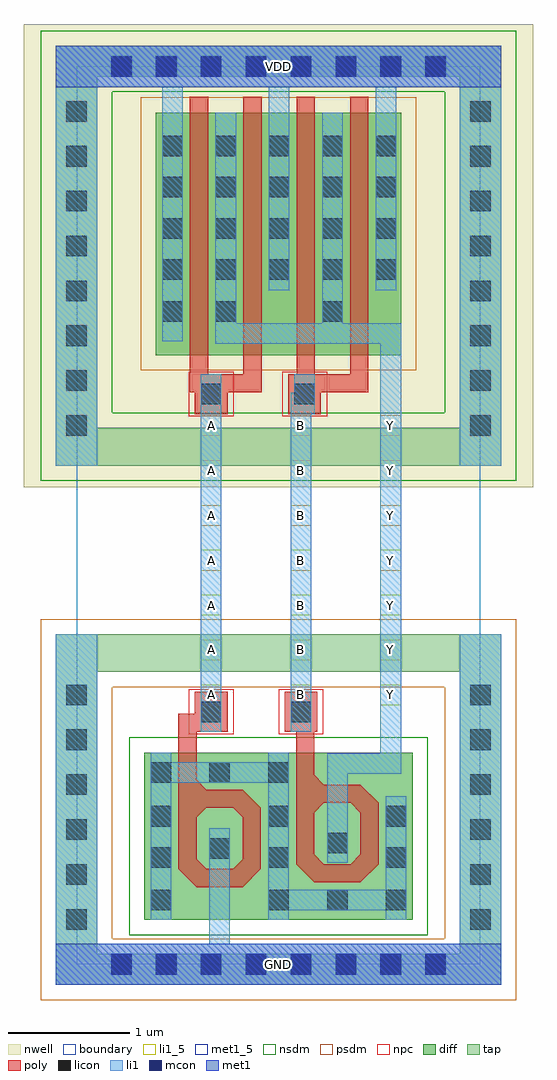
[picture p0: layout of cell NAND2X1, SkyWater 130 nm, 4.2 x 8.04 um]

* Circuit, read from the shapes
.subckt NAND2X1 A B GND VDD Y
XM1 n1 A GND GND sky130_fd_pr__nfet_01v8 w=2.6 l=0.1475
XM2 n1 B Y GND sky130_fd_pr__nfet_01v8 w=2.56 l=0.1476
XM3 Y A VDD VDD sky130_fd_pr__pfet_01v8 w=2 l=0.15 m=2
XM4 Y B VDD VDD sky130_fd_pr__pfet_01v8 w=2 l=0.15 m=2
.ends

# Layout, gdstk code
from math import pi, radians
import gdstk
lib = gdstk.Library(unit=1e-6, precision=1e-09)
def R(c, l, rs):  # rectangles x0, y0, x1, y1
    for r in rs: c.add(gdstk.rectangle(r[:2], r[2:], *l))
def A(c, l, x, y, w, h, nx, ny, dx, dy):  # array of equal rectangles
    R(c, l, [(x+i*dx, y+j*dy, x+i*dx+w, y+j*dy+h) for i in range(nx) for j in range(ny)])
def P(c, l, *ps):  # polygons
    for p in ps: c.add(gdstk.Polygon(p, *l))
nwell = (64, 20)
diff = (65, 20)
tap = (65, 44)
poly = (66, 20)
licon = (66, 44)
li1_5 = (67, 5)
li1 = (67, 20)
mcon = (67, 44)
met1_5 = (68, 5)
met1 = (68, 20)
nsdm = (93, 44)
psdm = (94, 20)
npc = (95, 20)
boundary = (235, 4)

diff_ring_side = lib.new_cell('diff_ring_side')
R(diff_ring_side, nwell, [(-0.435,3.93,0.435,7.75)])
R(diff_ring_side, tap, [(-0.17,-0.17,0.17,2.72), (-0.17,4.11,0.17,7.57)])
A(diff_ring_side, licon, -0.085, 0.285, 0.17, 0.17, 1, 6, 0, 0.37)
A(diff_ring_side, licon, -0.085, 4.355, 0.17, 0.17, 1, 8, 0, 0.37)
R(diff_ring_side, li1, [(-0.17,-0.17,0.17,2.72), (-0.17,4.11,0.17,7.57)])
R(diff_ring_side, met1, [(-0.17,-0.17,0.17,0.17), (-0.17,7.23,0.17,7.57)])
R(diff_ring_side, nsdm, [(-0.295,3.985,0.295,7.695)])
R(diff_ring_side, psdm, [(-0.295,-0.295,0.295,2.845)])

nmos_bottom = lib.new_cell('nmos_bottom')
R(nmos_bottom, diff, [(0,0,1.24,1.38)])
R(nmos_bottom, poly, [(0.43,0.27,0.81,0.42), (0.28,0.42,0.43,0.925), (0.81,0.42,0.96,0.925), (0.43,0.925,0.96,1.075), (0.81,1.075,0.96,1.51)])
P(nmos_bottom, poly, [(0.73,1.075),(0.81,1.075),(0.81,1.155)],
  [(0.28,0.925),(0.43,0.925),(0.43,1.075)],
  [(0.43,0.845),(0.43,0.925),(0.51,0.925)],
  [(0.73,0.925),(0.81,0.925),(0.81,0.845)],
  [(0.43,0.5),(0.43,0.42),(0.51,0.42)],
  [(0.73,0.42),(0.81,0.42),(0.81,0.5)],
  [(0.28,0.42),(0.43,0.42),(0.43,0.27)],
  [(0.81,0.27),(0.81,0.42),(0.96,0.42)])
A(nmos_bottom, licon, 0.05, 1.13, 0.17, 0.17, 3, 1, 0.485, 0)
R(nmos_bottom, licon, [(0.05,0.08,0.22,0.25), (1.02,0.08,1.19,0.25), (0.05,0.43,0.22,0.6), (1.02,0.43,1.19,0.6), (0.535,0.505,0.705,0.675), (0.05,0.77,0.22,0.94), (1.02,0.77,1.19,0.94)])
R(nmos_bottom, li1, [(0.05,0,0.22,1.13), (1.02,0,1.19,1.13), (0.535,0.425,0.705,0.755), (0.05,1.13,1.19,1.3), (0.05,1.3,0.22,1.38), (1.02,1.3,1.19,1.38)])
R(nmos_bottom, nsdm, [(-0.125,-0.125,1.365,1.505)])

pmos2 = lib.new_cell('pmos2')
R(pmos2, nwell, [(0.26,-2.18,1.76,0.18)])
R(pmos2, diff, [(0.44,-2,1.58,0)])
R(pmos2, poly, [(0.72,-2.305,1.31,-2.155), (0.72,-2.155,0.87,0.13), (1.16,-2.155,1.31,0.13)])
A(pmos2, licon, 0.49, -1.38, 0.17, 0.17, 3, 4, 0.44, 0.34)
R(pmos2, li1, [(0.49,-1.465,0.66,0.21), (0.93,-1.465,1.1,0), (1.37,-1.465,1.54,0.21)])
R(pmos2, psdm, [(0.315,-2.125,1.705,0.125)])

poly_li1_contact = lib.new_cell('poly_li1_contact')
R(poly_li1_contact, poly, [(-0.16,-0.14,0.17,0.13)])
R(poly_li1_contact, licon, [(-0.08,-0.09,0.09,0.08)])
R(poly_li1_contact, li1, [(-0.16,-0.09,0.17,0.08)])
R(poly_li1_contact, npc, [(-0.18,-0.19,0.19,0.18)])

nmos_top_trim1 = lib.new_cell('nmos_top_trim1')
R(nmos_top_trim1, diff, [(0,0,1.24,1.38)])
R(nmos_top_trim1, poly, [(0.43,0.31,0.81,0.46), (0.28,0.46,0.43,0.965), (0.81,0.46,0.96,0.965), (0.43,0.965,0.96,1.115), (0.81,1.115,0.96,1.545)])
P(nmos_top_trim1, poly, [(0.73,1.115),(0.81,1.115),(0.81,1.195)],
  [(0.28,0.965),(0.43,0.965),(0.43,1.115)],
  [(0.43,0.885),(0.43,0.965),(0.51,0.965)],
  [(0.73,0.965),(0.81,0.965),(0.81,0.885)],
  [(0.43,0.54),(0.43,0.46),(0.51,0.46)],
  [(0.73,0.46),(0.81,0.46),(0.81,0.54)],
  [(0.28,0.46),(0.43,0.46),(0.43,0.31)],
  [(0.81,0.31),(0.81,0.46),(0.96,0.46)])
A(nmos_top_trim1, licon, 0.05, 0.08, 0.17, 0.17, 3, 1, 0.485, 0)
R(nmos_top_trim1, licon, [(0.05,0.43,0.22,0.6), (1.02,0.43,1.19,0.6), (0.535,0.55,0.705,0.72), (0.05,0.77,0.22,0.94), (1.02,0.77,1.19,0.94), (1.02,1.13,1.19,1.3)])
R(nmos_top_trim1, li1, [(0.05,0,0.22,0.08), (1.02,0,1.19,0.08), (0.05,0.08,1.19,0.25), (0.05,0.25,0.22,1.02), (1.02,0.25,1.19,1.38), (0.535,0.47,0.705,0.805)])
R(nmos_top_trim1, nsdm, [(-0.125,-0.125,1.365,1.505)])

nand2x1_pcell = lib.new_cell('nand2x1_pcell')
R(nand2x1_pcell, nwell, [(0.435,3.93,2.895,7.75)])
R(nand2x1_pcell, diff, [(0.705,5.295,0.875,5.465), (1.145,5.295,1.315,5.465), (2.025,5.295,2.195,5.465)])
R(nand2x1_pcell, tap, [(0.17,-0.17,3.16,-0.15), (0.155,-0.15,3.175,0.085), (0.155,2.4,0.17,2.41), (3.16,2.4,3.175,2.41), (0.155,2.41,3.175,2.71), (0.17,2.71,3.16,2.72), (0.17,4.11,3.16,4.42), (0.17,7.315,3.16,7.57)])
R(nand2x1_pcell, poly, [(0.84,1.875,0.99,2.065), (1.81,1.91,1.96,1.915)])
A(nand2x1_pcell, licon, 0.285, -0.085, 0.17, 0.17, 8, 2, 0.37, 7.4)
R(nand2x1_pcell, licon, [(0.705,5.295,0.875,5.465), (1.145,5.295,1.315,5.465), (2.025,5.295,2.195,5.465)])
R(nand2x1_pcell, li1, [(0.17,-0.17,3.16,-0.15), (0.155,-0.15,3.175,0.16), (0.17,0.16,3.16,0.17), (1.095,0.17,1.265,0.835), (2.065,1.165,2.235,1.57), (2.065,1.57,2.675,1.74), (2.505,1.74,2.675,5.115), (1.025,2.165,1.195,4.54), (1.765,2.165,1.785,2.205), (1.765,2.205,1.935,4.54), (1.765,4.54,1.805,4.71), (1.145,5.115,2.675,5.285), (0.705,5.135,0.875,5.555), (1.145,5.285,1.315,5.555), (2.025,5.285,2.195,5.555), (0.17,7.23,3.16,7.57)])
A(nand2x1_pcell, mcon, 0.285, -0.085, 0.17, 0.17, 8, 2, 0.37, 7.4)
R(nand2x1_pcell, met1, [(0.17,-0.17,3.16,-0.15), (0.155,-0.15,3.175,0.16), (0.17,0.16,3.16,0.17), (0.17,7.23,3.16,7.57)])
R(nand2x1_pcell, nsdm, [(0.045,3.985,3.285,4.545), (0.045,7.19,3.285,7.695)])
R(nand2x1_pcell, psdm, [(0.045,-0.295,3.285,-0.275), (0.03,-0.275,3.3,0.21), (0.03,2.275,0.295,2.285), (3.035,2.275,3.3,2.285), (0.03,2.285,3.3,2.835), (0.045,2.835,3.285,2.845), (0.58,5.17,1.44,5.59), (1.9,5.17,2.32,5.59)])
nand2x1_pcell.add(gdstk.Reference(diff_ring_side, (0,0)))
nand2x1_pcell.add(gdstk.Reference(nmos_bottom, (1.8,0.365), rotation=pi, x_reflection=True))
nand2x1_pcell.add(gdstk.Reference(pmos2, (0.215,7.02)))
nand2x1_pcell.add(gdstk.Reference(poly_li1_contact, (1.115,4.705), rotation=3*pi/2))
nand2x1_pcell.add(gdstk.Reference(poly_li1_contact, (1.115,2.085), rotation=3*pi/2))
nand2x1_pcell.add(gdstk.Reference(nmos_top_trim1, (2.77,0.365), rotation=pi, x_reflection=True))
nand2x1_pcell.add(gdstk.Reference(pmos2, (1.095,7.02)))
nand2x1_pcell.add(gdstk.Reference(poly_li1_contact, (1.845,2.075), rotation=pi/2))
nand2x1_pcell.add(gdstk.Reference(poly_li1_contact, (1.885,4.705), rotation=3*pi/2))
nand2x1_pcell.add(gdstk.Reference(diff_ring_side, (3.33,0)))

nand2x1 = lib.new_cell('NAND2X1')
R(nand2x1, nwell, [(0.285,7.315,0.455,7.485)])
A(nand2x1, li1_5, 1.025, 2.135, 0.17, 0.17, 3, 7, 0.74, 0.37)
A(nand2x1, li1, 1.025, 2.135, 0.17, 0.17, 3, 7, 0.74, 0.37)
R(nand2x1, met1_5, [(-0.17,-0.17,3.5,0.17), (-0.17,7.23,3.5,7.57)])
R(nand2x1, met1, [(-0.17,-0.17,3.5,0.17), (-0.17,7.23,3.5,7.57)])
R(nand2x1, boundary, [(0,0,3.33,7.4)])
nand2x1.add(gdstk.Reference(nand2x1_pcell, (0,0)))
nand2x1.add(gdstk.Label('Y', (2.59,3.33), layer=67, texttype=5))
nand2x1.add(gdstk.Label('Y', (2.59,3.7), layer=67, texttype=5))
nand2x1.add(gdstk.Label('Y', (2.59,4.07), layer=67, texttype=5))
nand2x1.add(gdstk.Label('Y', (2.59,4.44), layer=67, texttype=5))
nand2x1.add(gdstk.Label('Y', (2.59,2.96), layer=67, texttype=5))
nand2x1.add(gdstk.Label('Y', (2.59,2.59), layer=67, texttype=5))
nand2x1.add(gdstk.Label('Y', (2.59,2.22), layer=67, texttype=5))
nand2x1.add(gdstk.Label('A', (1.11,4.07), layer=67, texttype=5))
nand2x1.add(gdstk.Label('A', (1.11,3.7), layer=67, texttype=5))
nand2x1.add(gdstk.Label('A', (1.11,3.33), layer=67, texttype=5))
nand2x1.add(gdstk.Label('A', (1.11,2.96), layer=67, texttype=5))
nand2x1.add(gdstk.Label('A', (1.11,2.59), layer=67, texttype=5))
nand2x1.add(gdstk.Label('A', (1.11,2.22), layer=67, texttype=5))
nand2x1.add(gdstk.Label('A', (1.11,4.44), layer=67, texttype=5))
nand2x1.add(gdstk.Label('B', (1.85,3.33), layer=67, texttype=5))
nand2x1.add(gdstk.Label('B', (1.85,3.7), layer=67, texttype=5))
nand2x1.add(gdstk.Label('B', (1.85,4.07), layer=67, texttype=5))
nand2x1.add(gdstk.Label('B', (1.85,4.44), layer=67, texttype=5))
nand2x1.add(gdstk.Label('B', (1.85,2.96), layer=67, texttype=5))
nand2x1.add(gdstk.Label('B', (1.85,2.59), layer=67, texttype=5))
nand2x1.add(gdstk.Label('B', (1.85,2.22), layer=67, texttype=5))
nand2x1.add(gdstk.Label('VDD', (1.665,7.4), layer=68, texttype=5))
nand2x1.add(gdstk.Label('GND', (1.665,0), layer=68, texttype=5))

lib.write_gds('NAND2X1.gds')
